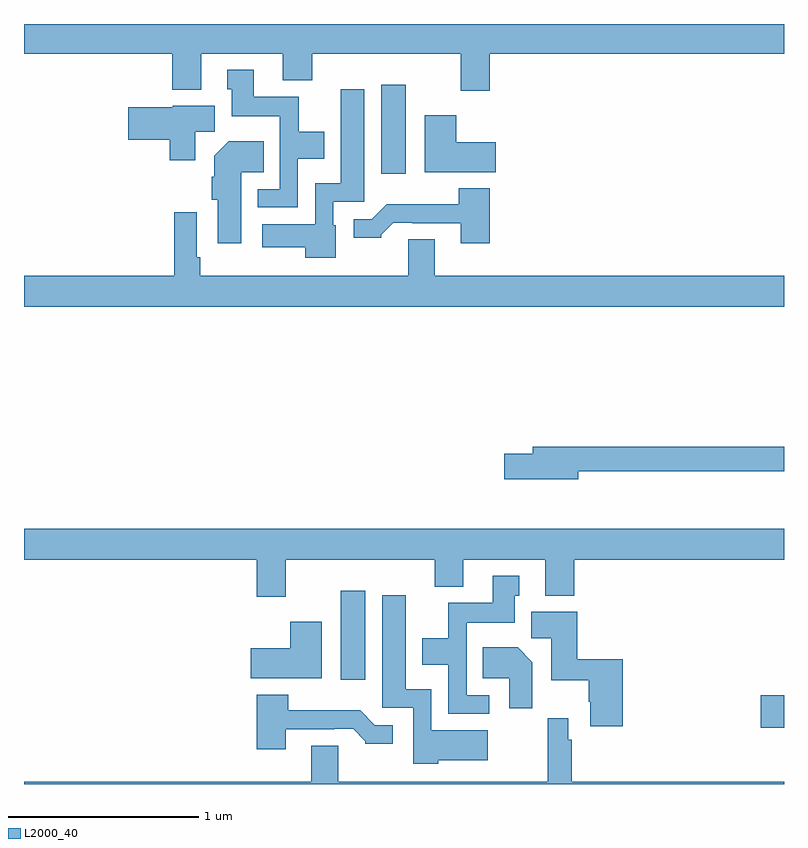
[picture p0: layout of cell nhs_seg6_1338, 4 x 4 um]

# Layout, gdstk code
import gdstk
lib = gdstk.Library(unit=1e-6, precision=1e-09)
def R(c, l, rs):  # rectangles x0, y0, x1, y1
    for r in rs: c.add(gdstk.rectangle(r[:2], r[2:], *l))
def P(c, l, *ps):  # polygons
    for p in ps: c.add(gdstk.Polygon(p, *l))
L2000_40 = (2000, 40)

nhs_seg6_1338 = lib.new_cell('nhs_seg6_1338')
R(nhs_seg6_1338, L2000_40, [(196.878,935.795,197,935.966), (194.666,936.048,194.797,936.517), (194.879,938.712,195.01,939.181)])
P(nhs_seg6_1338, L2000_40, [(195.452,939.344),(197,939.344),(197,939.5),(193,939.5),(193,939.344),(193.781,939.344),(193.781,939.155),(193.933,939.155),(193.933,939.344),(194.363,939.344),(194.363,939.203),(194.516,939.203),(194.516,939.344),(195.299,939.344),(195.299,939.15),(195.452,939.15)],
  [(194.442,938.792),(194.581,938.792),(194.581,938.932),(194.445,938.932),(194.445,939.118),(194.209,939.118),(194.209,939.259),(194.069,939.259),(194.069,939.156),(194.093,939.156),(194.093,939.014),(194.346,939.014),(194.346,938.631),(194.229,938.631),(194.229,938.535),(194.442,938.535)],
  [(194.641,938.442),(194.628,938.442),(194.628,938.565),(194.791,938.565),(194.791,939.157),(194.666,939.157),(194.666,938.662),(194.532,938.662),(194.532,938.446),(194.253,938.446),(194.253,938.324),(194.48,938.324),(194.48,938.27),(194.641,938.27)],
  [(193.9,938.932),(194.005,938.932),(194.005,939.07),(193.782,939.07),(193.782,939.061),(193.548,939.061),(193.548,938.891),(193.766,938.891),(193.766,938.784),(193.9,938.784)],
  [(195.484,938.878),(195.274,938.878),(195.274,939.019),(195.11,939.019),(195.11,938.72),(195.484,938.72)],
  [(194.143,938.72),(194.261,938.72),(194.261,938.884),(194.078,938.884),(194,938.806),(194,938.696),(193.988,938.696),(193.988,938.574),(194.021,938.574),(194.021,938.346),(194.143,938.346)],
  [(195.452,938.635),(195.287,938.635),(195.287,938.551),(194.908,938.551),(194.829,938.472),(194.736,938.472),(194.736,938.375),(194.88,938.375),(194.88,938.39),(194.944,938.454),(195.043,938.454),(195.043,938.451),(195.299,938.451),(195.299,938.346),(195.452,938.346)],
  [(197,938.176),(195.163,938.176),(195.163,938.366),(195.023,938.366),(195.023,938.176),(193.928,938.176),(193.928,938.272),(193.908,938.272),(193.908,938.509),(193.792,938.509),(193.792,938.176),(193,938.176),(193,938.012),(197,938.012)],
  [(195.916,937.146),(197,937.146),(197,937.274),(195.677,937.274),(195.677,937.238),(195.528,937.238),(195.528,937.103),(195.916,937.103)],
  [(194.377,936.68),(195.161,936.68),(195.161,936.539),(195.313,936.539),(195.313,936.68),(195.743,936.68),(195.743,936.491),(195.896,936.491),(195.896,936.68),(197,936.68),(197,936.844),(193,936.844),(193,936.68),(194.225,936.68),(194.225,936.486),(194.377,936.486)],
  [(195.448,935.967),(195.33,935.967),(195.33,936.35),(195.583,936.35),(195.583,936.492),(195.607,936.492),(195.607,936.595),(195.467,936.595),(195.467,936.454),(195.232,936.454),(195.232,936.268),(195.095,936.268),(195.095,936.128),(195.234,936.128),(195.234,935.871),(195.448,935.871)],
  [(195.18,935.624),(195.442,935.624),(195.442,935.782),(195.144,935.782),(195.144,935.998),(195.01,935.998),(195.01,936.493),(194.885,936.493),(194.885,935.901),(195.048,935.901),(195.048,935.606),(195.18,935.606)],
  [(196.151,936.157),(195.911,936.157),(195.911,936.406),(195.671,936.406),(195.671,936.268),(195.776,936.268),(195.776,936.047),(195.973,936.047),(195.973,935.932),(195.98,935.932),(195.98,935.805),(196.151,935.805)],
  [(194.566,936.355),(194.402,936.355),(194.402,936.214),(194.193,936.214),(194.193,936.056),(194.566,936.056)],
  [(195.676,936.142),(195.598,936.22),(195.415,936.22),(195.415,936.056),(195.554,936.056),(195.554,935.898),(195.676,935.898)],
  [(194.377,935.787),(194.633,935.787),(194.633,935.79),(194.732,935.79),(194.796,935.726),(194.796,935.711),(194.941,935.711),(194.941,935.808),(194.847,935.808),(194.769,935.887),(194.39,935.887),(194.39,935.971),(194.225,935.971),(194.225,935.682),(194.377,935.682)],
  [(195.884,935.732),(195.864,935.732),(195.864,935.845),(195.756,935.845),(195.756,935.512),(194.653,935.512),(194.653,935.702),(194.513,935.702),(194.513,935.512),(193,935.512),(193,935.5),(197,935.5),(197,935.512),(195.884,935.512)])

lib.write_gds('nhs_seg6_1338.gds')
